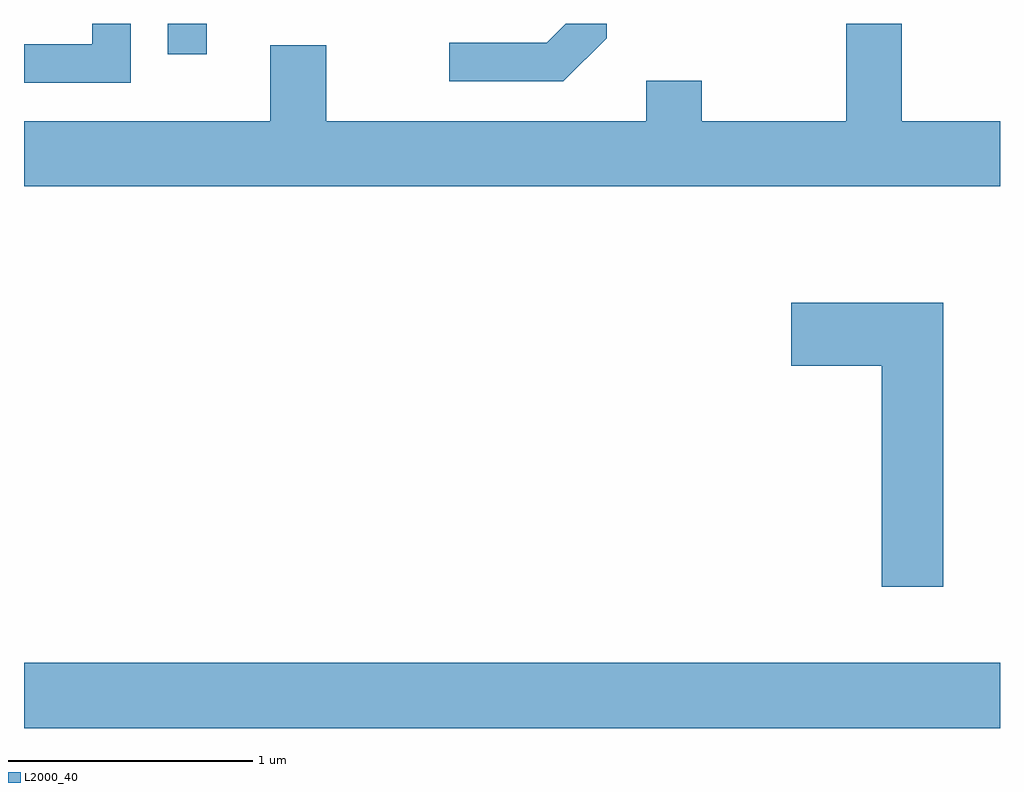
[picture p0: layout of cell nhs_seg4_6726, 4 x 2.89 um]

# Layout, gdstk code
import gdstk
lib = gdstk.Library(unit=1e-6, precision=1e-09)
def R(c, l, rs):  # rectangles x0, y0, x1, y1
    for r in rs: c.add(gdstk.rectangle(r[:2], r[2:], *l))
def P(c, l, *ps):  # polygons
    for p in ps: c.add(gdstk.Polygon(p, *l))
L2000_40 = (2000, 40)

nhs_seg4_6726 = lib.new_cell('nhs_seg4_6726')
R(nhs_seg4_6726, L2000_40, [(381.611,1379.096,385.611,1379.364), (382.201,1381.858,382.359,1381.982)])
P(nhs_seg4_6726, L2000_40, [(385.611,1381.584),(385.209,1381.584),(385.209,1381.982),(384.981,1381.982),(384.981,1381.584),(384.389,1381.584),(384.389,1381.749),(384.161,1381.749),(384.161,1381.584),(382.849,1381.584),(382.849,1381.894),(382.621,1381.894),(382.621,1381.584),(381.611,1381.584),(381.611,1381.316),(385.611,1381.316)],
  [(382.049,1381.982),(381.891,1381.982),(381.891,1381.899),(381.611,1381.899),(381.611,1381.741),(382.049,1381.741)],
  [(383.999,1381.924),(383.999,1381.982),(383.831,1381.982),(383.754,1381.904),(383.353,1381.904),(383.353,1381.746),(383.822,1381.746)],
  [(385.379,1380.839),(384.756,1380.839),(384.756,1380.581),(385.126,1380.581),(385.126,1379.676),(385.379,1379.676)])

lib.write_gds('nhs_seg4_6726.gds')
